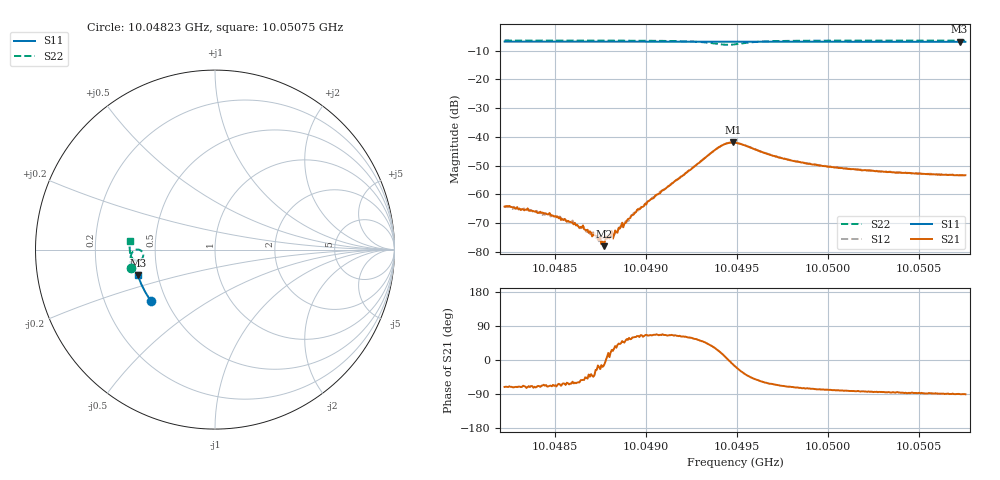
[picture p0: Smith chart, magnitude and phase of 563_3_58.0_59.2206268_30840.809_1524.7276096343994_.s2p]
#  HZ  S  RI  R  50.00
! Rohde & Schwarz Vector Network Analyzer
! Rohde-Schwarz,ZNB20-2Port,1311601062101988,3.16
! Created: UTC 3/21/2024, 1:15:36 AM
! freq[Hz]  re:S11  im:S11  re:S21  im:S21  re:S12  im:S12  re:S22  im:S22
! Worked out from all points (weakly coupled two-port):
!   401 points, 10.04823 GHz to 10.05075 GHz, reference 50 ohm
!   highest |S21| = -41.94 dB at 10.04948 GHz (marker M1); lowest = -78.0 dB at 10.04877 GHz (marker M2)
!   lowest |S11| = -6.9 dB at 10.05072 GHz (marker M3), VSWR 2.65, Z = 19.3 - j6.83 ohm
!   |S11| at or under -10 dB: nowhere
!   |S22| runs from -7.9 to -6.4 dB; largest |S21 - S12| = 0.00056
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1.0048225e10  -0.356 -0.286  0.000199 -0.000578  0.000266 -0.000583  -0.466 -0.1041
1.0048466e10  -0.3654 -0.2731  0.000157 -0.000419  0.0002 -0.0004  -0.4687 -0.0869
1.0048541e10  -0.3682 -0.269  0.000167 -0.000334  0.000177 -0.000327  -0.4695 -0.0812
1.0048649e10  -0.3722 -0.2631  0.000158 -0.000208  0.000169 -0.000207  -0.4703 -0.0733
1.0048687e10  -0.3736 -0.2611  0.000168 -0.000132  0.000144 -0.000136  -0.4705 -0.07
1.0048718e10  -0.3747 -0.2594  0.000149 -0.000124  0.000178 -0.000114  -0.4706 -0.0674
1.0048737e10  -0.3754 -0.2583  0.000157 -4.09e-05  0.000149 -6.73e-05  -0.4708 -0.0658
1.0048756e10  -0.3761 -0.2571  0.000132 -3.15e-05  0.000185 -4.17e-05  -0.4707 -0.0645
1.0048769e10  -0.3763 -0.2566  0.000121 -3.31e-05  0.000175 -8.61e-06  -0.471 -0.0636
1.004882e10  -0.3783 -0.2536  0.000154 6.93e-05  0.000171 9.5e-05  -0.471 -0.0592
1.0048832e10  -0.3786 -0.253  0.000189 0.00014  0.000172 0.000126  -0.4711 -0.0582
1.0048927e10  -0.3819 -0.2477  0.00022 0.000376  0.000195 0.000394  -0.4709 -0.0496
1.0049072e10  -0.3868 -0.2393  0.000431 0.000937  0.000369 0.001  -0.4691 -0.0348
1.0049388e10  -0.3963 -0.2208  0.00548 0.00294  0.00529 0.00331  -0.4187 -0.00216
1.0049433e10  -0.3975 -0.2185  0.00737 0.00134  0.00729 0.00179  -0.4025 -0.0178
1.0049477e10  -0.3986 -0.2163  0.00786 -0.0015  0.00797 -0.000968  -0.402 -0.0426
1.004949e10  -0.3992 -0.2155  0.00762 -0.00228  0.00777 -0.00174  -0.4052 -0.0489
1.0049723e10  -0.4064 -0.2021  0.0018 -0.00409  0.00207 -0.00399  -0.4644 -0.0433
1.0049913e10  -0.4116 -0.1907  0.000807 -0.00321  0.000987 -0.00323  -0.4726 -0.0213
1.0050337e10  -0.422 -0.1648  0.000216 -0.00245  0.000334 -0.00246  -0.4753 0.0149
1.0050722e10  -0.4297 -0.1409  2.97e-06 -0.00214  0.000124 -0.00218  -0.4739 0.0429
1.0050754e10  -0.4305 -0.1389  -1.17e-05 -0.00216  0.00012 -0.00215  -0.4737 0.0452
